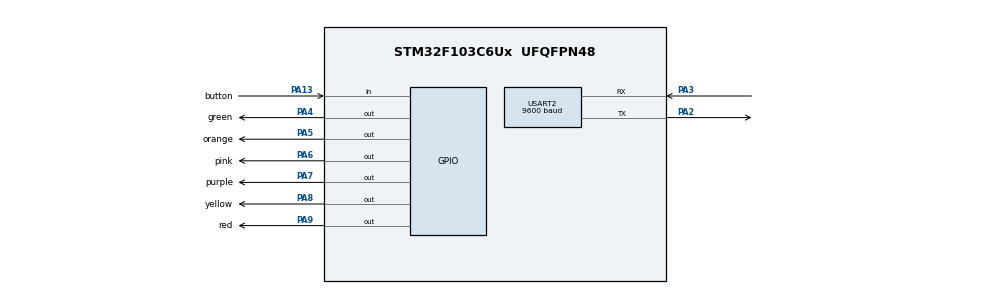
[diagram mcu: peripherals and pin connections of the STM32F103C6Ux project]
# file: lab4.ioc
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Mcu.Family=STM32F1
Mcu.Name=STM32F103C6Ux
Mcu.Package=UFQFPN48
NVIC.PriorityGroup=NVIC_PRIORITYGROUP_4
NVIC.TIM2_IRQn=true\:0\:0\:false\:false\:true\:true\:true\:true
NVIC.USART2_IRQn=true\:0\:0\:false\:false\:true\:true\:true\:true
PA13.GPIO_Label=button
PA13.GPIO_PuPd=GPIO_PULLUP
PA13.Signal=GPIO_Input
PA2.Mode=Asynchronous
PA2.Signal=USART2_TX
PA3.Mode=Asynchronous
PA3.Signal=USART2_RX
PA4.GPIO_Label=green
PA4.Signal=GPIO_Output
PA5.GPIO_Label=orange
PA5.Signal=GPIO_Output
PA6.GPIO_Label=pink
PA6.Signal=GPIO_Output
PA7.GPIO_Label=purple
PA7.Signal=GPIO_Output
PA8.GPIO_Label=yellow
PA8.Signal=GPIO_Output
PA9.GPIO_Label=red
PA9.Signal=GPIO_Output
ProjectManager.HeapSize=0x200
ProjectManager.StackSize=0x400
ProjectManager.TargetToolchain=STM32CubeIDE
RCC.APB1Freq_Value=8000000
RCC.APB2Freq_Value=8000000
TIM2.Period=9
TIM2.Prescaler=7999
USART2.BaudRate=9600
USART2.VirtualMode=VM_ASYNC
VP_TIM2_VS_ClockSourceINT.Mode=Internal
board=custom

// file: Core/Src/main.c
/* USER CODE BEGIN Header */
/**
  ******************************************************************************
  * @file           : main.c
  * @brief          : Main program body
  ******************************************************************************
  * @attention
  *
  * Copyright (c) 2022 STMicroelectronics.
  * All rights reserved.
  *
  * This software is licensed under terms that can be found in the LICENSE file
  * in the root directory of this software component.
  * If no LICENSE file comes with this software, it is provided AS-IS.
  *
  ******************************************************************************
  */
/* USER CODE END Header */
#include "main.h"

/* USER CODE BEGIN Includes */
#include "button.h"
#include "global.h"
#include "scheduler.h"
#include "uart_communication.h"
/* USER CODE END Includes */

TIM_HandleTypeDef htim2;

UART_HandleTypeDef huart2;

void SystemClock_Config(void);
static void MX_GPIO_Init(void);
static void MX_TIM2_Init(void);
static void MX_USART2_UART_Init(void);

/* USER CODE BEGIN 0 */
void HAL_UART_RxCpltCallback(UART_HandleTypeDef * huart) {
	if(huart->Instance == USART2){
		buffer[index_buffer++] = temp;
		if(index_buffer == MAX_BUFFER_SIZE) index_buffer = 0;
		buffer_flag = 1;
		HAL_UART_Transmit(&huart2, &temp, 1, 50);
		HAL_UART_Receive_IT(&huart2, &temp, 1);
	}
}
void sendData(){
	uart_communiation(huart2);
}
void readData(){
	readDataUART(huart2);
}
void ledPink(){
	HAL_GPIO_TogglePin(pink_GPIO_Port, pink_Pin);
}
void ledPurple(){
	HAL_GPIO_TogglePin(purple_GPIO_Port, purple_Pin);
}
void ledYellow(){
	HAL_GPIO_TogglePin(yellow_GPIO_Port, yellow_Pin);
}
void ledRed(){
	if(isButton1Pressed()) {
		HAL_GPIO_TogglePin(red_GPIO_Port, red_Pin);
	}
}
/* USER CODE END 0 */

int main(void)
{

  /* MCU Configuration--------------------------------------------------------*/

  /* Reset of all peripherals, Initializes the Flash interface and the Systick. */
  HAL_Init();

  /* Configure the system clock */
  SystemClock_Config();

  /* Initialize all configured peripherals */
  MX_GPIO_Init();
  MX_TIM2_Init();
  MX_USART2_UART_Init();
  /* USER CODE BEGIN 2 */
  HAL_TIM_Base_Start_IT(&htim2);
  HAL_UART_Receive_IT(&huart2, &temp, 1);
  SCH_Add_Task(readData, 500, 500);
  SCH_Add_Task(sendData, 2000, 2000);
  /* USER CODE END 2 */

  /* Infinite loop */
  while (1)
  {

    /* USER CODE BEGIN 3 */
	  SCH_Dispatch_Tasks();
  }
  /* USER CODE END 3 */
}

void SystemClock_Config(void)
{
  RCC_OscInitTypeDef RCC_OscInitStruct = {0};
  RCC_ClkInitTypeDef RCC_ClkInitStruct = {0};

  /** Initializes the RCC Oscillators according to the specified parameters
  * in the RCC_OscInitTypeDef structure.
  */
  RCC_OscInitStruct.OscillatorType = RCC_OSCILLATORTYPE_HSI;
  RCC_OscInitStruct.HSIState = RCC_HSI_ON;
  RCC_OscInitStruct.HSICalibrationValue = RCC_HSICALIBRATION_DEFAULT;
  RCC_OscInitStruct.PLL.PLLState = RCC_PLL_NONE;
  if (HAL_RCC_OscConfig(&RCC_OscInitStruct) != HAL_OK)
  {
    Error_Handler();
  }

  /** Initializes the CPU, AHB and APB buses clocks
  */
  RCC_ClkInitStruct.ClockType = RCC_CLOCKTYPE_HCLK|RCC_CLOCKTYPE_SYSCLK
                              |RCC_CLOCKTYPE_PCLK1|RCC_CLOCKTYPE_PCLK2;
  RCC_ClkInitStruct.SYSCLKSource = RCC_SYSCLKSOURCE_HSI;
  RCC_ClkInitStruct.AHBCLKDivider = RCC_SYSCLK_DIV1;
  RCC_ClkInitStruct.APB1CLKDivider = RCC_HCLK_DIV1;
  RCC_ClkInitStruct.APB2CLKDivider = RCC_HCLK_DIV1;

  if (HAL_RCC_ClockConfig(&RCC_ClkInitStruct, FLASH_LATENCY_0) != HAL_OK)
  {
    Error_Handler();
  }
}

static void MX_TIM2_Init(void)
{

  TIM_ClockConfigTypeDef sClockSourceConfig = {0};
  TIM_MasterConfigTypeDef sMasterConfig = {0};

  htim2.Instance = TIM2;
  htim2.Init.Prescaler = 7999;
  htim2.Init.CounterMode = TIM_COUNTERMODE_UP;
  htim2.Init.Period = 9;
  htim2.Init.ClockDivision = TIM_CLOCKDIVISION_DIV1;
  htim2.Init.AutoReloadPreload = TIM_AUTORELOAD_PRELOAD_DISABLE;
  if (HAL_TIM_Base_Init(&htim2) != HAL_OK)
  {
    Error_Handler();
  }
  sClockSourceConfig.ClockSource = TIM_CLOCKSOURCE_INTERNAL;
  if (HAL_TIM_ConfigClockSource(&htim2, &sClockSourceConfig) != HAL_OK)
  {
    Error_Handler();
  }
  sMasterConfig.MasterOutputTrigger = TIM_TRGO_RESET;
  sMasterConfig.MasterSlaveMode = TIM_MASTERSLAVEMODE_DISABLE;
  if (HAL_TIMEx_MasterConfigSynchronization(&htim2, &sMasterConfig) != HAL_OK)
  {
    Error_Handler();
  }
  /* USER CODE BEGIN TIM2_Init 2 */
  TIME_CYCLE = 1/ (8e6 / (htim2.Init.Prescaler + 1) / (htim2.Init.Period + 1)) * 1000;
  /* USER CODE END TIM2_Init 2 */

}

static void MX_USART2_UART_Init(void)
{

  huart2.Instance = USART2;
  huart2.Init.BaudRate = 9600;
  huart2.Init.WordLength = UART_WORDLENGTH_8B;
  huart2.Init.StopBits = UART_STOPBITS_1;
  huart2.Init.Parity = UART_PARITY_NONE;
  huart2.Init.Mode = UART_MODE_TX_RX;
  huart2.Init.HwFlowCtl = UART_HWCONTROL_NONE;
  huart2.Init.OverSampling = UART_OVERSAMPLING_16;
  if (HAL_UART_Init(&huart2) != HAL_OK)
  {
    Error_Handler();
  }

}

static void MX_GPIO_Init(void)
{
  GPIO_InitTypeDef GPIO_InitStruct = {0};

  /* GPIO Ports Clock Enable */
  __HAL_RCC_GPIOA_CLK_ENABLE();

  /*Configure GPIO pin Output Level */
  HAL_GPIO_WritePin(GPIOA, green_Pin|orange_Pin|pink_Pin|purple_Pin
                          |yellow_Pin|red_Pin, GPIO_PIN_RESET);

  /*Configure GPIO pins : green_Pin orange_Pin pink_Pin purple_Pin
                           yellow_Pin red_Pin */
  GPIO_InitStruct.Pin = green_Pin|orange_Pin|pink_Pin|purple_Pin
                          |yellow_Pin|red_Pin;
  GPIO_InitStruct.Mode = GPIO_MODE_OUTPUT_PP;
  GPIO_InitStruct.Pull = GPIO_NOPULL;
  GPIO_InitStruct.Speed = GPIO_SPEED_FREQ_LOW;
  HAL_GPIO_Init(GPIOA, &GPIO_InitStruct);

  /*Configure GPIO pin : button_Pin */
  GPIO_InitStruct.Pin = button_Pin;
  GPIO_InitStruct.Mode = GPIO_MODE_INPUT;
  GPIO_InitStruct.Pull = GPIO_PULLUP;
  HAL_GPIO_Init(button_GPIO_Port, &GPIO_InitStruct);

}

/* USER CODE BEGIN 4 */
void HAL_TIM_PeriodElapsedCallback(TIM_HandleTypeDef *htim) {
	SCH_Update();
	getKeyInput1();
}
/* USER CODE END 4 */

void Error_Handler(void)
{
  __disable_irq();
  while (1)
  {
  }
}
